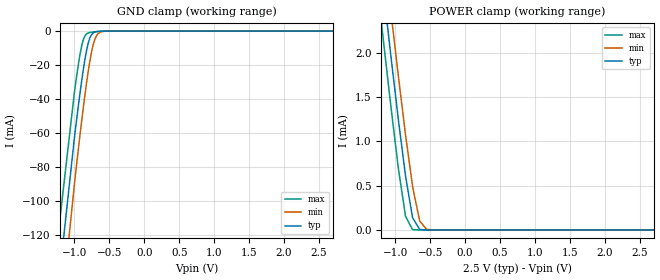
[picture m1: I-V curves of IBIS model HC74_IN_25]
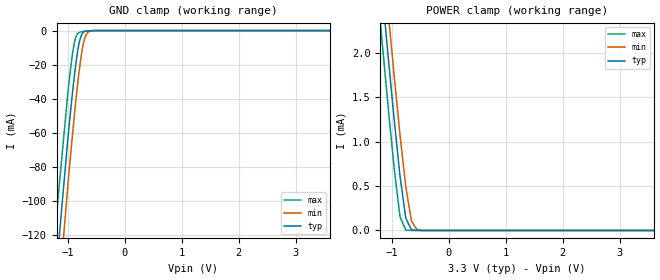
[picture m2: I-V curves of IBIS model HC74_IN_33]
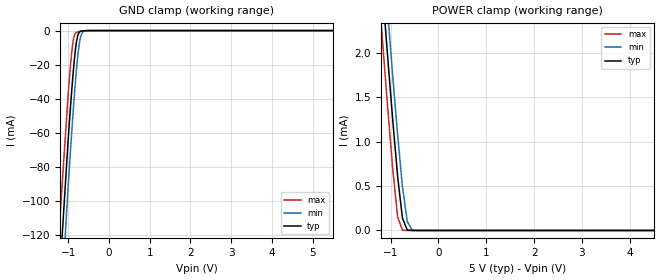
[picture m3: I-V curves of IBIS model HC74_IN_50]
| Nexperia BV
| BG Analog and Logic IC's
| IBIS model of 74HC74
| DUAL D-type flip-flop with set and reset; positive edge-trigger
|[Packages]:
|[Package1]: SO14 (D) 14-pins package
|[Package2]: TSSOP14 (PW) 14-pins package
|[Package3]: DHVQFN14 (BQ) 14-pins package
|[Package4]: DHXQFN (BZ) 14-Pin Packages
[IBIS Ver]   3.2
[File Name]   hc74.ibs
[File Rev]   1.0
[Date]   21-Oct-2022
[Source]   File created from simulations by BG
   Analog and Logic IC's, Nexperia BV
[Notes]   V1.0   Ibis model.
| Revision History
| Version Date   Author/   Description
|   Editor
| 1.0   Oct 2022   JPB   Initial Version
[Disclaimer]
   Disclaimers
   Limited warranty and liability - Information in this document is believed
   to be accurate and reliable. However, Nexperia does not give any
   representations or warranties, expressed or implied, as to the accuracy
   or completeness of such information and shall have no liability for the
   consequences of use of such information. Nexperia takes no responsibility
   for the content in this document if provided by an information source outside
   of Nexperia.
   In no event shall Nexperia be liable for any indirect, incidental, punitive,
   special or consequential damages (including - without limitation - lost
   profits, lost savings, business interruption, costs related to the removal
   or replacement of any products or rework charges) whether or not such
   damages are based on tort (including negligence), warranty, breach of
   contract or any other legal theory.
   Notwithstanding any damages that customer might incur for any reason
   whatsoever, Nexperia's aggregate and cumulative liability towards customer
   for the products described herein shall be limited in accordance with the
   Terms and conditions of commercial sale of Nexperia.
   Right to make changes - Nexperia reserves the right to make changes
   to information published in this document, including without limitation
   specifications and product descriptions, at any time and without notice. This
   document supersedes and replaces all information supplied prior to the
   publication hereof.
   Suitability for use - Nexperia products are not designed, authorized or
   warranted to be suitable for use in life support, life-critical or
   safety-critical systems or equipment, nor in applications where failure or
   malfunction of an Nexperia product can reasonably be expected to result in
   personal injury, death or severe property or environmental damage. Nexperia
   and its suppliers accept no liability for inclusion and/or use of Nexperia
   products in such equipment or applications and therefore such inclusion
   and/or use is at the customer's own risk.
   Applications - Applications that are described herein for any of these
   products are for illustrative purposes only. Nexperia makes no representation
   or warranty that such applications will be suitable for the specified use
   without further testing or modification.
   Customers are responsible for the design and operation of their applications
   and products using Nexperia products, and Nexperia accepts no liability for
   any assistance with applications or customer product design. It is customer's
   sole responsibility to determine whether the Nexperia product is suitable
   and fit for the customer's applications and products planned, as well as
   for the planned application and use of customer's third party customer(s).
   Customers should provide appropriate design and operating safeguards to
   minimize the risks associated with their applications and products.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
[Copyright]
   (C) Copyright 2021 Nexperia BV
   All rights reserved
|   Info for  SO14 (D) 14-pins package
[Component]   74HC74_D
[Manufacturer]   Nexperia BV
[Package]
|   Typ   Min   Max
R_pkg   8.750E-02   8.344E-02   9.153E-02
L_pkg   2.517E-09   1.870E-09   3.281E-09
C_pkg   5.707E-13   4.125E-13   7.093E-13
[Pin] signal_name   model_name   R_pin   L_pin   C_pin
   1   1nRd   HC74_IO 9.153E-02 3.281E-09 7.087E-13
   2   1D   HC74_IN 8.818E-02 2.552E-09 6.079E-13
   3   1CP   HC74_IN 8.486E-02 2.046E-09 4.748E-13
   4   1nSd   HC74_IO 8.345E-02 1.871E-09 4.130E-13
   5   1Q   HC74_OUT 8.484E-02 2.045E-09 4.747E-13
   6   1nQ   HC74_OUTI 8.816E-02 2.551E-09 6.078E-13
   7   GND   GND 9.150E-02 3.279E-09 7.087E-13
   8   2nQ   HC74_OUTI 9.149E-02 3.271E-09 7.090E-13
   9   2Q   HC74_OUT 8.815E-02 2.552E-09 6.075E-13
   10   2nSd   HC74_IO 8.485E-02 2.048E-09 4.744E-13
   11   2CP   HC74_IN 8.344E-02 1.870E-09 4.125E-13
   12   2D   HC74_IN 8.486E-02 2.048E-09 4.742E-13
   13   2nRd   HC74_IO 8.817E-02 2.554E-09 6.075E-13
   14   VCC   POWER 9.149E-02 3.272E-09 7.093E-13
|   Info for  TSSOP14 (PW) 14-pins package
[Component]   74HC74_PW
[Manufacturer]   Nexperia BV
[Package]
|   Typ   Min   Max
R_pkg   9.039E-02   8.837E-02   9.258E-02
L_pkg   2.569E-09   2.308E-09   2.948E-09
C_pkg   4.034E-13   3.661E-13   4.305E-13
[Pin] signal_name   model_name   R_pin   L_pin   C_pin
   1   1nRd   HC74_IO 9.257E-02 2.948E-09 4.192E-13
   2   1D   HC74_IN 9.070E-02 2.549E-09 4.305E-13
   3   1CP   HC74_IN 8.892E-02 2.345E-09 3.792E-13
   4   1nSd   HC74_IO 8.839E-02 2.310E-09 3.661E-13
   5   1Q   HC74_OUT 8.891E-02 2.344E-09 3.793E-13
   6   1nQ   HC74_OUTI 9.070E-02 2.547E-09 4.299E-13
   7   GND   GND 9.258E-02 2.944E-09 4.196E-13
   8   2nQ   HC74_OUTI 9.256E-02 2.942E-09 4.195E-13
   9   2Q   HC74_OUT 9.068E-02 2.546E-09 4.301E-13
   10   2nSd   HC74_IO 8.890E-02 2.342E-09 3.792E-13
   11   2CP   HC74_IN 8.837E-02 2.308E-09 3.661E-13
   12   2D   HC74_IN 8.890E-02 2.345E-09 3.794E-13
   13   2nRd   HC74_IO 9.068E-02 2.550E-09 4.302E-13
   14   VCC   POWER 9.256E-02 2.947E-09 4.194E-13
|   Info for  DHVQFN14 (BQ) 14-pins package
[Component]   74HC74_BQ
[Manufacturer]   Nexperia BV
[Package]
|   Typ   Min   Max
R_pkg   6.335E-02   5.611E-02   7.171E-02
L_pkg   9.743E-10   8.629E-10   1.103E-09
C_pkg   1.398E-13   1.323E-13   1.477E-13
[Pin] signal_name   model_name   R_pin   L_pin   C_pin
   1   1nRd   HC74_IO 5.998E-02 9.226E-10 1.369E-13
   2   1D   HC74_IN 7.171E-02 1.103E-09 1.473E-13
   3   1CP   HC74_IN 6.197E-02 9.530E-10 1.382E-13
   4   1nSd   HC74_IO 5.611E-02 8.629E-10 1.325E-13
   5   1Q   HC74_OUT 6.197E-02 9.529E-10 1.391E-13
   6   1nQ   HC74_OUTI 7.171E-02 1.103E-09 1.477E-13
   7   GND   GND 5.998E-02 9.227E-10 1.370E-13
   8   2nQ   HC74_OUTI 5.998E-02 9.226E-10 1.371E-13
   9   2Q   HC74_OUT 7.171E-02 1.103E-09 1.473E-13
   10   2nSd   HC74_IO 6.197E-02 9.531E-10 1.381E-13
   11   2CP   HC74_IN 5.611E-02 8.630E-10 1.323E-13
   12   2D   HC74_IN 6.197E-02 9.530E-10 1.391E-13
   13   2nRd   HC74_IO 7.171E-02 1.103E-09 1.477E-13
   14   VCC   POWER 5.998E-02 9.226E-10 1.370E-13
|   Info for  DHXQFN (BZ) 14-Pin Packages
[Component]   74HC74_BZ
[Manufacturer]   Nexperia BV
[Package]
|   typ   min   max
R_pkg   18.10E-03   15.70E-03   19.10E-03
L_pkg   2.12E-09   1.76E-09   2.65E-09
C_pkg   0.59E-12   0.55E-12   0.64E-12
[Pin] signal_name   model_name   R_pin   L_pin   C_pin
   1   1nRd   HC74_IO 19.10E-03  2.65E-09  0.58E-12
   2   1D   HC74_IN 17.70E-03  2.07E-09  0.64E-12
   3   1CP   HC74_IN 18.70E-03  1.82E-09  0.57E-12
   4   1nSd   HC74_IO 15.70E-03  1.76E-09  0.55E-12
   5   1Q   HC74_OUT 18.70E-03  1.82E-09  0.57E-12
   6   1nQ   HC74_OUTI 17.70E-03  2.07E-09  0.63E-12
   7   GND   GND 19.10E-03  2.65E-09  0.60E-12
   8   2nQ   HC74_OUTI 19.10E-03  2.65E-09  0.60E-12
   9   2Q   HC74_OUT 17.80E-03  2.07E-09  0.64E-12
   10   2nSd   HC74_IO 18.70E-03  1.82E-09  0.57E-12
   11   2CP   HC74_IN 15.70E-03  1.76E-09  0.55E-12
   12   2D   HC74_IN 18.70E-03  1.82E-09  0.57E-12
   13   2nRd   HC74_IO 17.80E-03  2.07E-09  0.64E-12
   14   VCC   POWER 19.10E-03  2.65E-09  0.60E-12
[Model Selector]   HC74_IN
HC74_IN_25   2.5V Vcc Input model
HC74_IN_33   3.3V Vcc Input model
HC74_IN_50   5.0V Vcc Input model
[Model Selector]   HC74_OUTI
HC74_OUTI_25   2.5V Vcc Output model; inverting
HC74_OUTI_33   3.3V Vcc Output model; inverting
HC74_OUTI_50   5.0V Vcc Output model; inverting
[Model Selector]   HC74_OUT
HC74_OUT_25   2.5V Vcc Output model
HC74_OUT_33   3.3V Vcc Output model
HC74_OUT_50   5.0V Vcc Output model
[Model Selector]   HC74_IO
HC74_IO_25   2.5V Vcc Input/Output model
HC74_IO_33   3.3V Vcc Input/Output model
HC74_IO_50   5.0V Vcc Input/Output model
| Models and submodels in the file (12): HC74_IN_25 (Input), HC74_IN_33 (Input), HC74_IN_50 (Input), HC74_OUTI_25 (Output), HC74_OUTI_33 (Output), HC74_OUTI_50 (Output), HC74_IO_25 (I/O), HC74_IO_33 (I/O), HC74_IO_50 (I/O), HC74_OUT_25 (Output), HC74_OUT_33 (Output), HC74_OUT_50 (Output)
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| Remark: If your software does not support the Model Selector
|   Please comment out the lines of the Model Selector, which
|   contain the name of the Model, except the one you want to use.
|   Model HC74_IN_25
[Model]   HC74_IN_25
Model_type   Input
Vinl = 0.5V
Vinh = 1.5V
C_comp   2.9914pF   1.6849pF   4.3559pF
[Model Spec]
| Note: The input and output voltage ratings may be exceeded if the input and
|   output current ratings are observed (please refer to the data sheet)
|   Subparameter   typ   min   max
| Thresholds
Vinl   0.75   0.5   0.825
Vinh   1.75   1.5   1.925
| Overshoot
S_overshoot_high   7.0   7.0   7.0
S_overshoot_low   -0.5   -0.5   -0.5
D_overshoot_high   7.2   7.2   7.2
D_overshoot_low   -1.3   -1.3   -1.3
D_overshoot_time   3n   3n   3n
|Ambient temperature:   25   85   -40
[Temperature Range]   35   95   -30
[Voltage Range]   2.5   2.0   2.75
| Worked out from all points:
|   GND clamp passes 1 mA (typ) near -0.73 V on its own axis
|   POWER clamp passes 1 mA (typ) near -0.92 V on its own axis
|Process Range   nominal   slow   fast
[GND_clamp]
|   voltage   I(typ)   I(min)   I(max)
-5.5V     -1.839A    -1.974A    -1.717A
-1.9V     -405mA     -453.2mA   -359.4mA
-1V       -62.81mA   -90.06mA   -36.07mA
-950mV    -46.04mA   -71.76mA   -21.45mA
-900mV    -30.42mA   -54.19mA   -9.56mA
-862.5mV  -19.93mA   -41.72mA   -3.985mA
-812.5mV  -8.814mA   -26.52mA   -1.303mA
-762.5mV  -2.616mA   -13.94mA   -701.4uA
-712.5mV  -642.6uA   -5.468mA   -431.7uA
-662.5mV  -203.6uA   -1.566mA   -242.8uA
-600mV    -71.39uA   -276uA     -89.04uA
2.7V      0A         0A         0A
[POWER_clamp]
|   voltage   I(typ)   I(min)   I(max)
-5.5V     34.86mA    35.34mA    34.33mA
-1.258V   3.328mA    3.828mA    2.758mA
-1.157V   2.615mA    3.117mA    2.044mA
-1.056V   1.914mA    2.414mA    1.346mA
-954.6mV  1.236mA    1.729mA    686.7uA
-853.5mV  610uA      1.075mA    154.9uA
-752.5mV  138.8uA    493uA      3.22uA
-651.5mV  5.946uA    102.1uA    26.47nA
-550.5mV  136.3nA    6.271uA    213.4pA
2.7V      4.877pA    632.9pA    14.65fA
|   Model HC74_IN_33
[Model]   HC74_IN_33
Model_type   Input
Vinl = 0.9V
Vinh = 2.52V
C_comp   2.8774pF   1.2578pF   5.2328pF
[Model Spec]
| Note: The input and output voltage ratings may be exceeded if the input and
|   output current ratings are observed (please refer to the data sheet)
|   Subparameter   typ   min   max
| Thresholds
Vinl   0.99   0.9   1.08
Vinh   2.31   2.1   2.52
| Overshoot
S_overshoot_high   7.0   7.0   7.0
S_overshoot_low   -0.5   -0.5   -0.5
D_overshoot_high   7.2   7.2   7.2
D_overshoot_low   -1.3   -1.3   -1.3
D_overshoot_time   3n   3n   3n
|Ambient temperature:   25   85   -40
[Temperature Range]   35   95   -30
[Voltage Range]   3.3   3.0   3.6
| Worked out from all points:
|   GND clamp passes 1 mA (typ) near -0.73 V on its own axis
|   POWER clamp passes 1 mA (typ) near -0.92 V on its own axis
|Process Range   nominal   slow   fast
[GND_clamp]
|   voltage   I(typ)   I(min)   I(max)
-5.5V     -1.839A    -1.974A    -1.717A
-1.9V     -405mA     -453.2mA   -359.4mA
-1V       -62.81mA   -90.06mA   -36.07mA
-937.5mV  -42.01mA   -67.28mA   -18.13mA
-887.5mV  -26.77mA   -49.95mA   -7.313mA
-850mV    -16.78mA   -37.74mA   -2.904mA
-800mV    -6.759mA   -23.07mA   -1.076mA
-750mV    -1.839mA   -11.38mA   -621.7uA
-700mV    -465.6uA   -4.104mA   -378.7uA
-650mV    -161.3uA   -1.11mA    -204.8uA
-587.5mV  -58.87uA   -197.1uA   -69.02uA
3.6V      0A         0A         0A
[POWER_clamp]
|   voltage   I(typ)   I(min)   I(max)
-5.5V     34.86mA    35.34mA    34.33mA
-1.258V   3.328mA    3.828mA    2.758mA
-1.157V   2.615mA    3.117mA    2.044mA
-1.056V   1.914mA    2.414mA    1.346mA
-954.6mV  1.236mA    1.729mA    686.7uA
-853.5mV  610uA      1.075mA    154.9uA
-752.5mV  138.8uA    493uA      3.22uA
-651.5mV  5.946uA    102.1uA    26.47nA
-550.5mV  136.3nA    6.271uA    213.4pA
3.6V      4.46pA     605.6pA    8.214fA
|   Model HC74_IN_50
[Model]   HC74_IN_50
Model_type   Input
Vinl = 1.35V
Vinh = 3.85V
C_comp   2.8774pF   1.2578pF   5.2328pF
[Model Spec]
| Note: The input and output voltage ratings may be exceeded if the input and
|   output current ratings are observed (please refer to the data sheet)
|   Subparameter   typ   min   max
| Thresholds
Vinl   1.5   1.35   1.65
Vinh   3.5   3.15   3.85
| Overshoot
S_overshoot_high   7.0   7.0   7.0
S_overshoot_low   -0.5   -0.5   -0.5
D_overshoot_high   7.2   7.2   7.2
D_overshoot_low   -1.3   -1.3   -1.3
D_overshoot_time   3n   3n   3n
|Ambient temperature:   25   85   -40
[Temperature Range]   35   95   -30
[Voltage Range]   5.0   4.5   5.5
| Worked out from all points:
|   GND clamp passes 1 mA (typ) near -0.73 V on its own axis
|   POWER clamp passes 1 mA (typ) near -0.92 V on its own axis
|Process Range   nominal   slow   fast
[GND_clamp]
|   voltage   I(typ)   I(min)   I(max)
-5.5V     -1.839A    -1.974A    -1.717A
-1.9V     -405mA     -453.2mA   -359.4mA
-1V       -62.81mA   -90.06mA   -36.07mA
-937.5mV  -42.01mA   -67.28mA   -18.13mA
-887.5mV  -26.77mA   -49.95mA   -7.313mA
-837.5mV  -13.86mA   -33.87mA   -2.148mA
-787.5mV  -5.045mA   -19.81mA   -915.9uA
-737.5mV  -1.287mA   -9.108mA   -551.9uA
-700mV    -465.6uA   -4.104mA   -378.7uA
-650mV    -161.3uA   -1.11mA    -204.8uA
-575mV    -48.51uA   -142.2uA   -52.35uA
5.5V      0A         0A         0A
[POWER_clamp]
|   voltage   I(typ)   I(min)   I(max)
-5.5V     34.86mA    35.34mA    34.33mA
-1.258V   3.328mA    3.828mA    2.758mA
-1.157V   2.615mA    3.117mA    2.044mA
-1.056V   1.914mA    2.414mA    1.346mA
-954.6mV  1.236mA    1.729mA    686.7uA
-853.5mV  610uA      1.075mA    154.9uA
-752.5mV  138.8uA    493uA      3.22uA
-651.5mV  5.946uA    102.1uA    26.47nA
-550.5mV  136.3nA    6.271uA    213.4pA
4.5V      4.076pA    -780.7fA   1.77fA
